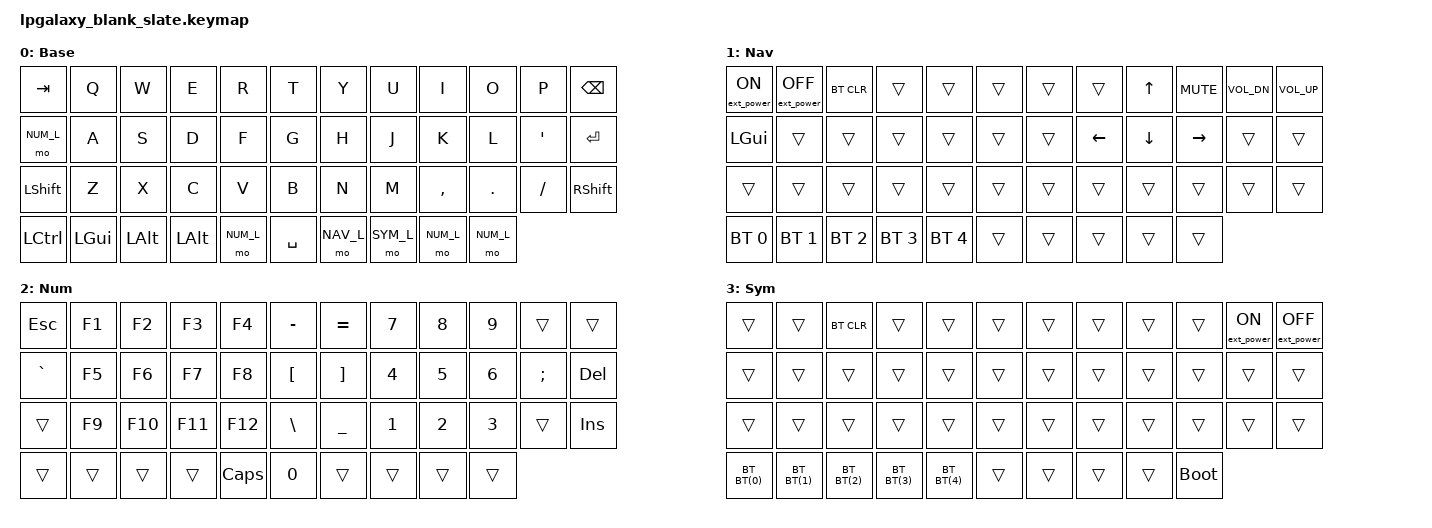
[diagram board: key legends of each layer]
/*
 * Copyright (c) 2022 Pete Johanson
 *
 * SPDX-License-Identifier: MIT
 */

//===================original code=========================
/*
				#include <behaviors.dtsi>
				#include <dt-bindings/zmk/keys.h>
				#include <dt-bindings/zmk/bt.h>
				#include <dt-bindings/zmk/outputs.h>
				
				#define QWERTY_BASE 1
				
				#define TBLE_ORTHO   1
				// #define TBLE_MIT     1
				// #define TBLE_DUAL_2U 1
				
				#define NAV_L 1
				#define NUM_L 2
				#define SYM_L 3
				
				// Using layer taps on thumbs, having quick tap as well helps w/ repeating space/backspace
				&lt { quick_tap_ms = <200>; };
				
				#define BT(n) BT_SEL n
				
				/ {
				    chosen {
				       zmk,matrix_transform =
				#ifdef TBLE_DUAL_2U
				                       &dual_2u_transform;
				#elif defined(TBLE_MIT)
				                       &mit_transform;
				#else
				                       &ortho_transform;
				#endif
				    };
				
				    macros {
				      ZMK_MACRO(thumbs_up,
						wait-ms = <1>;
						tap-ms = <5>;
				                bindings = <&kp PLUS &kp COLON &kp PLUS &kp N1 &kp COLON &kp RET>;
						)
				    };
				    
				    tap_dances {
				    	shifty: shift_caps_word {
						compatible = "zmk,behavior-tap-dance";
						label = "TD_SHIFTY";
						#binding-cells = <0>;
						tapping-term-ms = <150>;
						bindings = <&kp LSHFT>, <&caps_word>;
					};
				    };
				
				// Conditional layer only when we have less thumb keys
				#ifdef TBLE_DUAL_2U
				    cond_layers {
				        compatible = "zmk,conditional-layers";
					tri {
					    if-layers = <NUM_L NAV_L>;
					    then-layer = <SYM_L>;
				        };
				    };
				#endif
				
				    keymap {
				        compatible = "zmk,keymap";
				
				        base_layer {
				            label = "Base";
				            bindings = <
				#ifdef QWERTY_BASE
				 &kp ESC    &kp Q      &kp W      &kp E       &kp R          &kp T          &kp Y            &kp U          &kp I       &kp O      &kp P         &kp BKSP
				 &kp TAB    &kp A      &kp S      &kp D       &kp F          &kp G          &kp H            &kp J          &kp K       &kp L      &kp SEMI      &kp QUOT
				 &kp LSHFT  &kp Z      &kp X      &kp C       &kp V          &kp B          &kp N            &kp M          &kp COMMA   &kp DOT    &kp FSLH      &kp RET
				#else
				 &kp ESC    &kp Q      &kp W      &kp F       &kp P          &kp B          &kp J            &kp L          &kp U       &kp Y      &kp QUOT      &kp BKSP
				 &kp TAB    &kp A      &kp R      &kp S       &kp T          &kp G          &kp M            &kp N          &kp E       &kp I      &kp O         &kp QUOT
				 &kp LSHFT  &kp Z      &kp X      &kp C       &kp D          &kp V          &kp K            &kp H          &kp COMMA   &kp DOT    &kp SEMI      &kp RET
				#endif
				#ifdef TBLE_DUAL_2U
				 &kp LCTRL  &kp LGUI   &kp LALT   &mo NAV_L         &shifty                        &kp SPACE                &mo NUM_L   &kp LALT   &kp RGUI      &kp RSHIFT
				#elif defined(TBLE_MIT)
				 &kp LCTRL  &mo SYM_L   &kp LGUI  &kp LALT    &mo NAV_L          &kp SPACE                   &mo NUM_L      &kp LEFT    &kp UP     &kp DOWN      &kp RIGHT
				#else
				 &kp LCTRL  &mo SYM_L   &kp LGUI  &kp LALT    &mo NAV_L      &kp SPACE      &kp RET          &mo NUM_L      &kp LEFT    &kp UP     &kp DOWN      &kp RIGHT
				#endif
				            >;
				        };
				
				        nav_layer {
				            label = "Nav";
				            bindings = <
				&bt BT_CLR &trans     &trans     &trans      &trans          &trans       &trans     &trans         &trans      &trans     &trans     &kp DEL
				&trans     &trans     &trans     &trans      &trans          &trans       &trans     &kp LEFT       &kp DOWN    &kp UP     &kp RIGHT  &trans
				&trans     &bt BT(0)  &bt BT(1)  &bt BT(2)   &bt BT(3)       &bt BT(4)    &trans     &kp HOME       &kp PG_DN   &kp PG_UP  &kp END    &trans
				#ifdef TBLE_DUAL_2U
				&trans  &trans        &trans     &trans              &trans                    &trans       &trans         &trans &trans &trans
				#elif defined(TBLE_MIT)
				&trans  &trans        &trans     &trans      &trans                &trans             &trans      &trans   &trans &trans &trans
				#else
				&trans  &trans        &trans     &trans      &trans          &trans       &trans    &trans  &trans         &trans &trans &trans
				#endif
				            >;
				        };
				
				        num_layer {
				            label = "Num";
				            bindings = <
				&trans     &kp LBKT   &trans &trans &trans    &kp RBKT    &kp C_PREV    &kp N7     &kp N8      &kp N9       &trans     &trans
				&trans     &kp MINUS  &trans &trans &trans    &kp EQUAL   &kp C_NEXT    &kp N4     &kp N5      &kp N6       &trans     &trans
				&trans     &kp GRAVE  &trans &trans &trans    &kp BSLH    &trans        &kp N1     &kp N2      &kp N3       &trans     &trans
				#ifdef TBLE_DUAL_2U
				&trans  &trans       &trans     &kp N0              &trans                 &trans            &trans         &trans &trans &trans
				#elif defined(TBLE_MIT)
				&trans  &trans       &trans     &kp N0      &trans           &none            &trans        &kp DEL      &trans &trans &trans
				#else
				&trans  &trans       &trans     &kp N0      &trans    &none         &none     &kp ESC        &kp DEL      &trans &trans &trans
				#endif
				            >;
				        };
				
				        sym_layer {
				            label = "Sym";
				            bindings = <
				&trans     &kp LBRC   &kp AMPS   &kp STAR    &kp LPAR     &kp RBRC     &trans     &trans    &trans       &trans       &trans     &bootloader
				&trans     &kp COLON  &kp DLLR   &kp PRCNT   &kp CARET    &kp PLUS     &trans     &trans    &trans       &trans       &trans     &trans
				&trans     &kp TILDE  &kp EXCL   &kp AT      &kp HASH     &kp PIPE     &trans     &trans    &trans       &trans       &trans     &trans
				#ifdef TBLE_DUAL_2U
				&trans &trans        &trans     &kp RPAR                &trans                    &trans       &trans         &trans &trans &trans
				#elif defined(TBLE_MIT)
				&trans &trans        &trans     &kp RPAR        &trans                &trans             &trans      &trans   &trans &trans &trans
				#else
				&trans &trans        &trans     &kp RPAR        &trans          &trans       &trans    &trans  &trans         &trans &trans &trans
				#endif
				            >;
				        };
				
				
				    };
				};
*/
				
				
				
				


//=======================================================================



#include <behaviors.dtsi>
#include <dt-bindings/zmk/keys.h>
#include <dt-bindings/zmk/bt.h>
#include <dt-bindings/zmk/outputs.h>
#include <dt-bindings/zmk/ext_power.h>

#define QWERTY_BASE 1

// #define TBLE_ORTHO   1
// #define TBLE_MIT     1
#define TBLE_DUAL_2U 1

#define NAV_L 1
#define NUM_L 2
#define SYM_L 3

// Using layer taps on thumbs, having quick tap as well helps w/ repeating space/backspace
//&lt { quick_tap_ms = <200>; };

#define BT(n) BT_SEL n

/ {
    chosen {
       zmk,matrix_transform =
#ifdef TBLE_DUAL_2U
                       &dual_2u_transform;
#elif defined(TBLE_MIT)
                       &mit_transform;
#else
                       &ortho_transform;
#endif
    };

    macros {
      ZMK_MACRO(thumbs_up,
		wait-ms = <1>;
		tap-ms = <5>;
		bindings = <&kp PLUS &kp COLON &kp PLUS &kp N1 &kp COLON &kp RET>;
		)
    };
    
    tap_dances {
	shifty: shift_caps_word {
		compatible = "zmk,behavior-tap-dance";
		label = "TD_SHIFTY";
		#binding-cells = <0>;
		tapping-term-ms = <150>;
		bindings = <&kp LSHFT>, <&caps_word>;
	};
    };
	
// Conditional layer only when we have less thumb keys
#ifdef TBLE_DUAL_2U
    cond_layers {
        compatible = "zmk,conditional-layers";
	tri {
	    if-layers = <NUM_L NAV_L>;
	    then-layer = <SYM_L>;
        };
    };
#endif

    keymap {
        compatible = "zmk,keymap";

        base_layer {					//&mo NAV_L	&mo NUM_L 	&mo SYM_L
            label = "Base";
            bindings = <
#ifdef QWERTY_BASE
 &kp TAB    	&kp Q      &kp W      &kp E       &kp R          &kp T          &kp Y            &kp U          &kp I       &kp O      &kp P         &kp BKSP
 &mo NUM_L    	&kp A      &kp S      &kp D       &kp F          &kp G          &kp H            &kp J          &kp K       &kp L      &kp QUOT      &kp RET
 &kp LSHFT  	&kp Z      &kp X      &kp C       &kp V          &kp B          &kp N            &kp M          &kp COMMA   &kp DOT    &kp FSLH      &kp RSHFT
#else
 &kp TAB    	&kp Q      &kp W      &kp F       &kp P          &kp B          &kp J            &kp L          &kp U       &kp Y      &kp QUOT      &kp BKSP
 &mo NUM_L     	&kp A      &kp R      &kp S       &kp T          &kp G          &kp M            &kp N          &kp E       &kp I      &kp O         &kp QUOT
 &kp LSHFT  	&kp Z      &kp X      &kp C       &kp D          &kp V          &kp K            &kp H          &kp COMMA   &kp DOT    &kp SEMI      &kp RET
#endif
#ifdef TBLE_DUAL_2U
 &kp LCTRL  &kp LGUI   	&kp LALT   &kp LALT	&mo NUM_L  	&kp SPACE	&mo NAV_L   	&mo SYM_L   &mo NUM_L  &mo NUM_L
#elif defined(TBLE_MIT)
 &kp LCTRL  &mo SYM_L   &kp LGUI  &kp LALT    	&mo NAV_L       &kp SPACE	&mo NUM_L      	&kp LEFT    &kp UP     &kp DOWN      &kp RIGHT
#else
 &kp LCTRL  &mo SYM_L   &kp LGUI  &kp LALT    	&mo NAV_L      	&kp SPACE      	&kp RET         &mo NUM_L   &kp LEFT   &kp UP     &kp DOWN      &kp RIGHT
#endif
            >;
        };

        nav_layer {
            label = "Nav";
            bindings = <
&ext_power EP_ON &ext_power EP_OFF    &bt BT_CLR        &trans	&trans	&trans		&trans 	&trans		&kp UP 		&kp C_MUTE     	&kp C_VOL_DN    &kp C_VOL_UP
&kp LGUI   	&trans     	 &trans     		&trans	&trans	&trans		&trans	&kp LEFT     	&kp DOWN    	&kp RIGHT	&trans		&trans
&trans     	&trans     	 &trans     		&trans	&trans	&trans		&trans	&trans  	&trans  	&trans    	&trans 		&trans
#ifdef TBLE_DUAL_2U
&bt BT_SEL 0 	&bt BT_SEL 1 	&bt BT_SEL 2 	&bt BT_SEL 3 	&bt BT_SEL 4	&trans	&trans	&trans	&trans	&trans
#elif defined(TBLE_MIT)
&trans  &trans        &trans     &trans      &trans                &trans             &trans      &trans   &trans &trans &trans
#else
&trans  &trans        &trans     &trans      &trans          &trans       &trans    &trans  &trans         &trans &trans &trans 
#endif
            >;
        };

        num_layer {
            label = "Num";
            bindings = <
&kp ESC    &kp F1  &kp F2   &kp F3   &kp F4     &kp MINUS    	&kp EQUAL    	&kp N7     &kp N8      &kp N9       &trans		&trans
&kp GRAVE  &kp F5  &kp F6   &kp F7   &kp F8     &kp LBKT    	&kp RBKT	&kp N4     &kp N5      &kp N6       &kp SEMI     	&kp DEL
&trans     &kp F9  &kp F10  &kp F11  &kp F12    &kp BSLH    	&kp UNDER	&kp N1     &kp N2      &kp N3       &trans     		&kp INS
#ifdef TBLE_DUAL_2U
&trans  &trans       &trans     &trans              &kp CAPS                 &kp N0            &trans &trans &trans &trans
#elif defined(TBLE_MIT)
&trans  &trans       &trans     &kp N0      &trans           &none            &trans        &kp DEL      &trans &trans &trans
#else
&trans  &trans       &trans     &kp N0      &trans    &none         &none     &kp ESC        &kp DEL      &trans &trans &trans
#endif
            >;
        };

        sym_layer {
            label = "Sym";
            bindings = <
&trans	   &trans   &bt BT_CLR    &trans    &trans     &trans    &trans       &trans       &trans    &trans	&ext_power EP_ON    &ext_power EP_OFF
&trans     &trans   &trans  &trans  &trans    &trans    &trans     &trans    &trans       &trans       &trans     &trans
&trans     &trans   &trans  &trans  &trans    &trans    &trans     &trans    &trans       &trans       &trans 	 &trans
#ifdef TBLE_DUAL_2U
&bt BT(0)  &bt BT(1)  &bt BT(2)   &bt BT(3)       &bt BT(4)                    &trans       &trans     &trans  &trans &bootloader
#elif defined(TBLE_MIT)
&trans &trans        &trans     &trans        &trans                &trans             &trans      &trans   &trans &trans &trans
#else
&trans &trans        &trans     &trans        &trans          &trans       &trans    &trans  &trans         &trans &trans &trans
#endif
            >;
        };


    };
};
